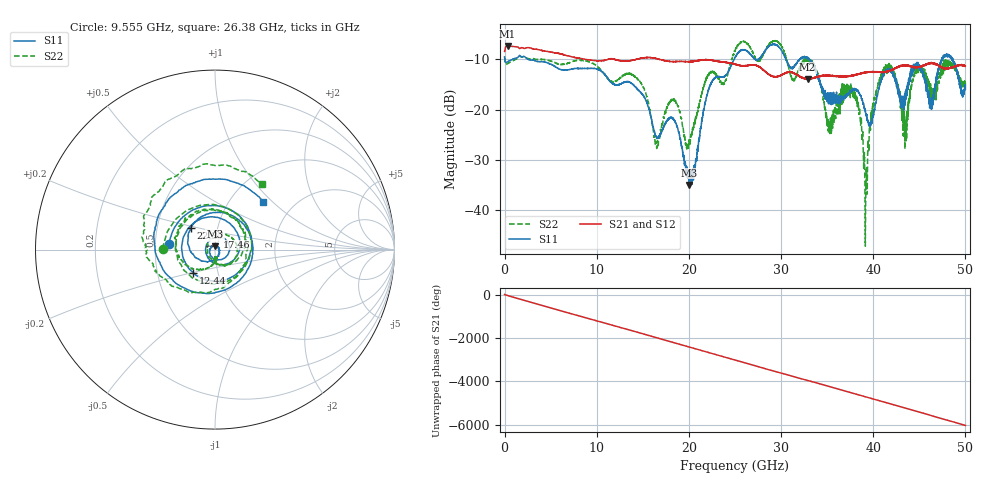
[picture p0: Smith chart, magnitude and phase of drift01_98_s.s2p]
!Created with skrf (http://scikit-rf.org).
# Hz S RI R 50.0
!freq ReS11 ImS11 ReS21 ImS21 ReS12 ImS12 ReS22 ImS22
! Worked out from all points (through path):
!   10001 points, 300 kHz to 50 GHz, reference 50 ohm
!   highest |S21| = -7.34 dB at 325.3 MHz (marker M1); lowest = -14.0 dB at 32.87 GHz (marker M2)
!   group delay of S21, straight-line fit = 335 ps
!   lowest |S11| = -35.0 dB at 20.01 GHz (marker M3), VSWR 1.04, Z = 49.8 + j1.76 ohm
!   |S11| at or under -10 dB: 2.554 GHz to 24.92 GHz (22.36 GHz wide, 163 % of centre); 30.52 GHz to 32.01 GHz (1.494 GHz wide, 4.78 % of centre); 33.07 GHz to 47.44 GHz (14.38 GHz wide, 35.7 % of centre) (the widest 3 of 19)
!   |S22| runs from -47.2 to -6.2 dB; largest |S21 - S12| = 0.0099
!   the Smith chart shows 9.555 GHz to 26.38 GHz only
!   S11 on the Smith chart (normalised r, x): 9.555 GHz: 0.59, +0.04; 12.44 GHz: 0.76, -0.21; 17.46 GHz: 1.02, +0.15; 22.37 GHz: 0.74, +0.18; 26.38 GHz: 1.41, +0.88
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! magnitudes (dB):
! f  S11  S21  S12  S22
! 300 kHz  -9.5  -8.4  -8.5  -9.5
! 325.3 MHz  -10.5  -7.3  -7.3  -10.9
! 8.335 GHz  -11.8  -9.8  -9.8  -10.2
! 9.555 GHz  -11.8  -10.2  -10.2  -10.8
! 12.44 GHz  -15.0  -10.2  -10.3  -13.9
! 14.88 GHz  -16.8  -9.8  -9.8  -15.0
! 16.67 GHz  -25.7  -10.0  -10.0  -27.2
! 17.46 GHz  -22.7  -10.3  -10.3  -20.7
! 20.01 GHz  -35.0  -10.5  -10.4  -26.9
! 22.37 GHz  -14.9  -10.1  -10.1  -12.4
! 25 GHz  -9.6  -11.0  -11.0  -8.3
! 26.38 GHz  -8.4  -11.2  -11.2  -6.9
! 32.87 GHz  -9.7  -14.0  -13.9  -9.9
! 33.34 GHz  -10.7  -13.8  -13.7  -10.6
! 35.23 GHz  -17.4  -13.2  -13.2  -22.8
! 37.99 GHz  -15.9  -13.2  -13.1  -17.3
! 39.17 GHz  -20.5  -12.6  -12.6  -40.7
! 40.14 GHz  -20.1  -12.5  -12.5  -17.9
! 41.67 GHz  -12.1  -12.3  -12.4  -12.0
! 43.45 GHz  -17.8  -11.3  -11.3  -25.9
! 44.88 GHz  -11.3  -11.6  -11.5  -12.0
! 50 GHz  -15.9  -11.3  -11.4  -15.1
